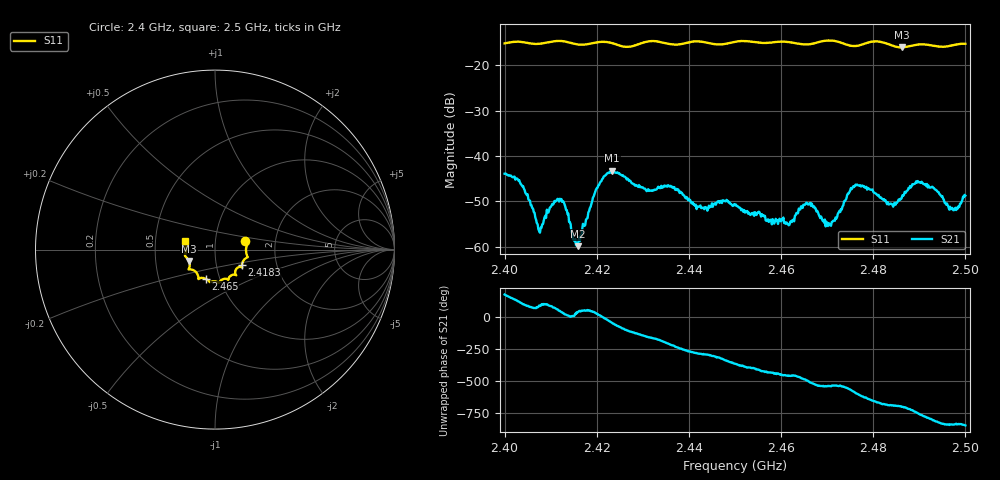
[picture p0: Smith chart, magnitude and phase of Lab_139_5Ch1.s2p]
# Hz S RI R 50
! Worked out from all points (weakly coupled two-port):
!   601 points, 2.4 GHz to 2.5 GHz, reference 50 ohm
!   highest |S21| = -43.26 dB at 2.4233 GHz (marker M1); lowest = -59.9 dB at 2.4158 GHz (marker M2)
!   lowest |S11| = -16.0 dB at 2.4862 GHz (marker M3), VSWR 1.37, Z = 37.1 - j4.8 ohm
!   |S11| at or under -10 dB: start of sweep to end of sweep
!   S12 and S22 are empty: the file has one direction only
!   S11 on the Smith chart (normalised r, x): 2.4 GHz: 1.40, +0.13; 2.4183 GHz: 1.33, -0.24; 2.465 GHz: 0.86, -0.29; 2.5 GHz: 0.71, +0.07
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2.4e9  0.169 0.046  -0.00637 0.000346  0 0  0 0
2.403667e9  0.1794 0.0288  -0.00164 0.00451  0 0  0 0
2.4075e9  0.1729 -0.00961  -3.9e-05 0.00149  0 0  0 0
2.4125e9  0.1805 -0.0431  0.00245 0.00192  0 0  0 0
2.415833e9  0.1598 -0.0596  0.000803 0.000617  0 0  0 0
2.416667e9  0.1548 -0.0683  0.000808 0.000994  0 0  0 0
2.418333e9  0.1498 -0.0868  0.00149 0.00198  0 0  0 0
2.420333e9  0.1508 -0.0996  0.00446 0.00165  0 0  0 0
2.423333e9  0.1472 -0.097  0.00492 -0.00479  0 0  0 0
2.433333e9  0.1167 -0.1413  -0.00458 -0.000381  0 0  0 0
2.442167e9  0.0737 -0.1686  0.000657 0.00267  0 0  0 0
2.45e9  0.025 -0.1807  0.00286 -0.000159  0 0  0 0
2.461333e9  -0.031 -0.1792  -0.000195 -0.0018  0 0  0 0
2.465e9  -0.0528 -0.1621  -0.00157 -0.00242  0 0  0 0
2.466667e9  -0.0713 -0.1575  -0.00268 -0.00132  0 0  0 0
2.470167e9  -0.0923 -0.1643  -0.00168 -0.000147  0 0  0 0
2.476167e9  -0.1125 -0.119  -0.00313 0.00369  0 0  0 0
2.483333e9  -0.1421 -0.0959  0.00243 0.00162  0 0  0 0
2.486167e9  -0.1447 -0.0632  0.0032 0.00124  0 0  0 0
2.489667e9  -0.1654 -0.0381  0.00468 -0.00249  0 0  0 0
2.497e9  -0.1635 0.0274  -0.00117 -0.00238  0 0  0 0
2.5e9  -0.1668 0.0474  -0.00203 -0.00304  0 0  0 0
